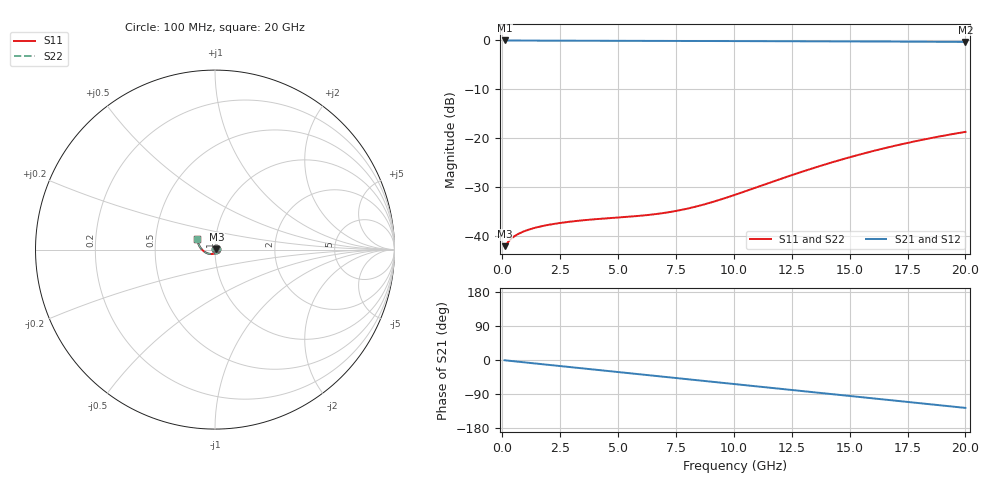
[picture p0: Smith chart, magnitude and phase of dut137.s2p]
! Touchstone file exported from HFSS 2026.1.0
!  File:  C:/ffzhzh/LocalFiles/Ansys_Project_Files/temp_train_TSV_RDL_137_1783050222_46780.aedt
!  Generated:  11:51:36 AM Jul  3, 2026
!  Design:  TSV_RDL
!  Project:  temp_train_TSV_RDL_137_1783050222_46780
! Variables:
!  h_bsmrdl = 5.28um
!  h_ox = 20um
!  h_rdl = 5um
!  h_sub = 93.02um
!  h_tmrdl = 2.12um
!  h_tsv = 93.02um
!  h_via = 3um
!  l_bsmrdl = 115.71um
!  l_sub = 1651.86um
!  l_tmrdl = 191.45um
!  m_sub = 200um
!  pitch = 37.22um
!  r_tsv = 14.64um
!  s_tmrdl = 10um
!  w_bsmrdl = 22.04um
!  w_sub = 500um
!  w_tmrdl = 24.27um
!  x_tsv_center1 = 203.585um
!  x_tsv_center2 = 341.335um
!  x_tsv_center3 = 557.055um
!  x_tsv_center4 = 694.805um
!  x_tsv_center5 = 910.525um
!  x_tsv_center6 = 1048.275um
# GHz S MA R 50.000000
! Terminal data exported
! Port[1] = TM_RDL1_1_T1
! Port[2] = TM_RDL5_1_T1
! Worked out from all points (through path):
!   200 points, 100 MHz to 20 GHz, reference 50 ohm
!   highest |S21| = -0.07 dB at 100 MHz (marker M1); lowest = -0.4 dB at 20 GHz (marker M2)
!   group delay of S21, straight-line fit = 17.5 ps
!   lowest |S11| = -42.0 dB at 100 MHz (marker M3), VSWR 1.02, Z = 50.8 + j0.0825 ohm
!   |S11| at or under -10 dB: start of sweep to end of sweep
!   |S22| runs from -42.0 to -18.7 dB; largest |S21 - S12| = 2.9e-12
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0.1  0.00791 5.9  0.9921 -0.7  0.9921 -0.7  0.00791 5.9
! Gamma 0 0 0 0
! Port Impedance 50 0 50 0
0.3  0.00899 11.2  0.9913 -2.0  0.9913 -2.0  0.00899 11.2
0.5  0.009902 11.7  0.9905 -3.3  0.9905 -3.3  0.009902 11.7
0.8  0.01086 10.7  0.9896 -5.2  0.9896 -5.2  0.01086 10.7
1.1  0.01158 9.0  0.9888 -7.1  0.9888 -7.1  0.01158 9.0
1.5  0.01233 6.2  0.9881 -9.7  0.9881 -9.7  0.01233 6.2
2.1  0.01319 1.6  0.9871 -13.5  0.9871 -13.5  0.01319 1.6
3.5  0.01454 -11.5  0.9852 -22.3  0.9852 -22.3  0.01455 -11.5
5.1  0.01557 -31.2  0.9833 -32.4  0.9833 -32.4  0.01558 -31.2
6.8  0.01701 -58.0  0.9814 -43.2  0.9814 -43.2  0.01703 -58.0
7.6  0.01826 -72.2  0.9805 -48.2  0.9805 -48.2  0.01828 -72.2
8.3  0.01986 -84.8  0.9797 -52.6  0.9797 -52.6  0.01989 -84.8
9.1  0.02239 -98.8  0.9787 -57.7  0.9787 -57.7  0.02241 -98.8
10.1  0.02668 -115.0  0.9775 -64.0  0.9775 -64.0  0.0267 -115.0
11  0.03161 -128.1  0.9763 -69.7  0.9763 -69.7  0.03164 -128.0
11.8  0.03681 -138.5  0.9752 -74.7  0.9752 -74.7  0.03683 -138.4
13.4  0.04921 -156.6  0.9727 -84.8  0.9727 -84.8  0.04924 -156.5
15  0.06381 -172.1  0.9699 -94.9  0.9699 -94.9  0.06383 -172.1
15.8  0.07172 -179.2  0.9683 -100.0  0.9683 -100.0  0.07175 -179.1
16.7  0.08097 173.3  0.9665 -105.6  0.9665 -105.6  0.081 173.3
18.3  0.09792 160.6  0.9629 -115.7  0.9629 -115.7  0.09794 160.6
20  0.1158 147.9  0.9588 -126.4  0.9588 -126.4  0.1159 147.9
